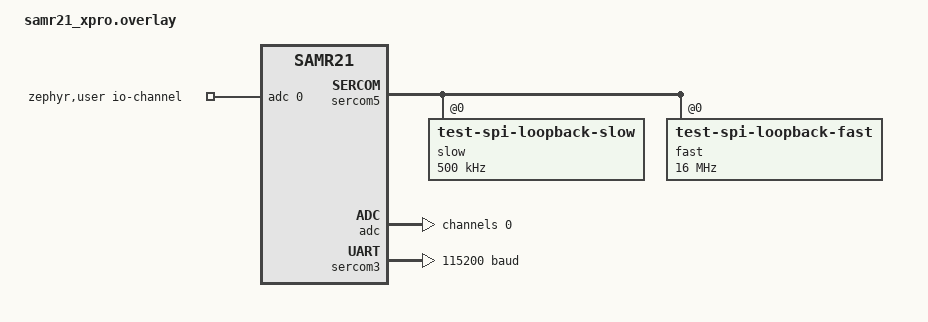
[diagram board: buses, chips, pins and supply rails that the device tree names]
/*
 * Copyright (c) 2022 Kumar Gala <galak@kernel.org>
 * Copyright (c) 2025 Gerson Fernando Budke <nandojve@gmail.com>
 *
 * SPDX-License-Identifier: Apache-2.0
 */

tst_dma0: &dmac {
	status = "okay";
};

&sercom5 {
	dipo = <0>;
	dopo = <0>;
	slow@0 {
		compatible = "test-spi-loopback-slow";
		reg = <0>;
		spi-max-frequency = <500000>;
	};
	fast@0 {
		compatible = "test-spi-loopback-fast";
		reg = <0>;
		spi-max-frequency = <16000000>;
	};
};

#define ADC_INPUTCTRL_MUXPOS_SCALEDIOVCC_Val 0x1BU

/ {
	zephyr,user {
		io-channels = <&adc 0>;
	};
};

&adc {
	#address-cells = <1>;
	#size-cells = <0>;
	channel@0 {
		reg = <0>;
		zephyr,gain = "ADC_GAIN_1";
		zephyr,reference = "ADC_REF_INTERNAL";
		zephyr,acquisition-time = <ADC_ACQ_TIME_DEFAULT>;
		zephyr,resolution = <12>;
		zephyr,input-positive = <ADC_INPUTCTRL_MUXPOS_SCALEDIOVCC_Val>;
	};
};

&pinctrl {
	sercom3_loopback: sercom3_loopback {
		group1 {
			pinmux = <PA16D_SERCOM3_PAD0>;
		};
	};
};

&dmac {
	status = "okay";
};

&sercom0 {
	dmas = <&dmac 0 1>, <&dmac 1 2>;
	dma-names = "rx", "tx";
};

dut: &sercom3 {
	status = "okay";
	compatible = "atmel,sam0-uart";
	current-speed = <115200>;
	rxpo = <0>;
	txpo = <0>;
	pinctrl-0 = <&sercom3_loopback>;
	pinctrl-names = "default";
	dmas = <&dmac 10 7>, <&dmac 11 8>;
	dma-names = "rx", "tx";
};
